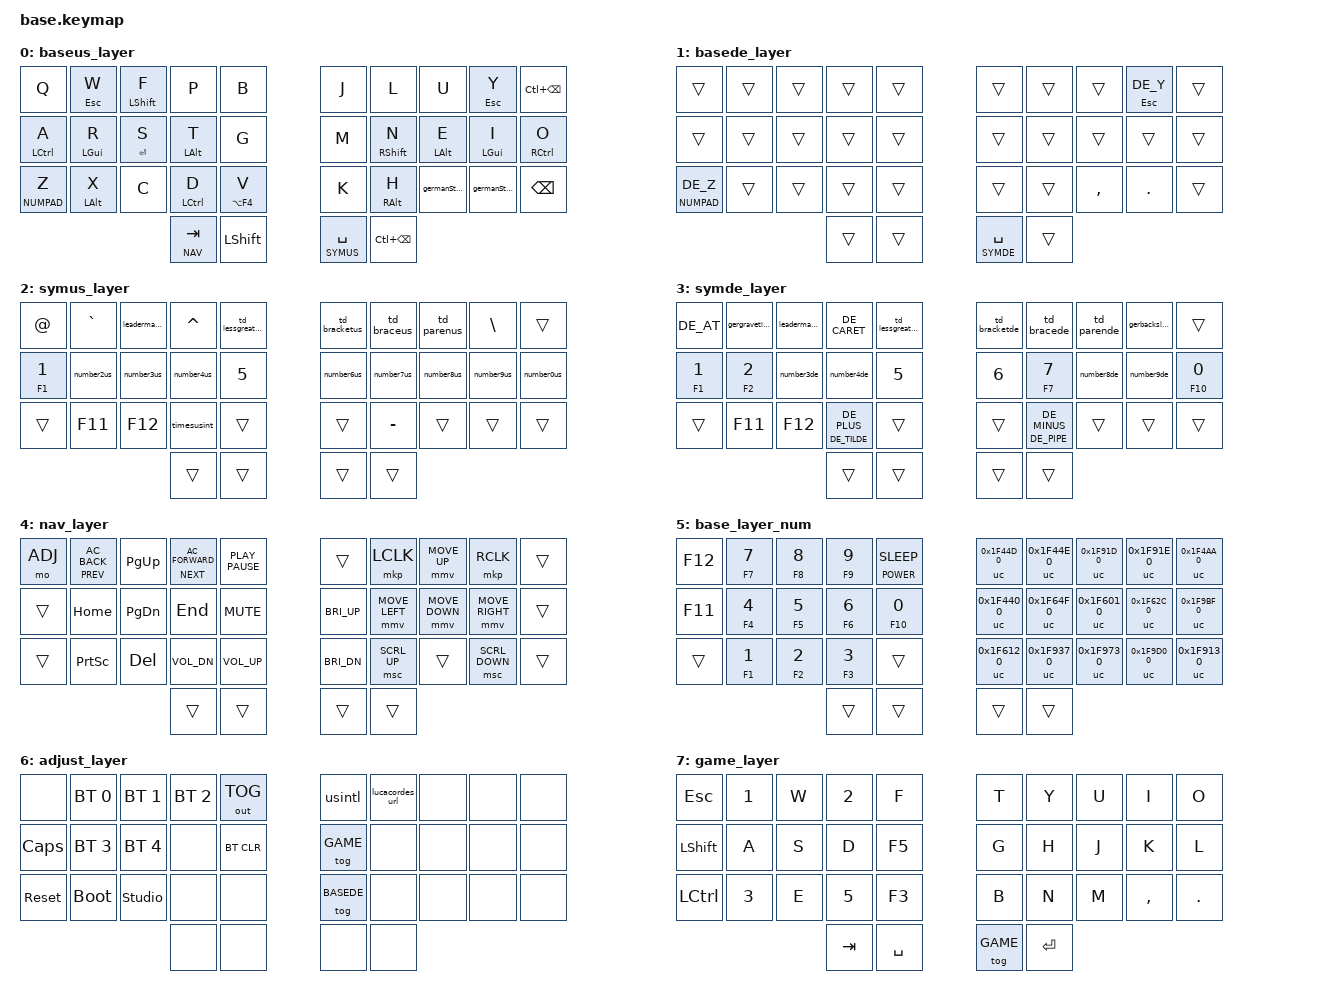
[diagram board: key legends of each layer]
/*
 * Copyright (c) 2020 The ZMK Contributors
 *
 * SPDX-License-Identifier: MIT
 */
#define ZMK_POINTING_DEFAULT_MOVE_VAL 1500  // default: 600

#include <behaviors/mouse_keys.dtsi>
#include <behaviors/unicode.dtsi>            //unicode

#include <dt-bindings/zmk/bt.h>
#include <dt-bindings/zmk/keys.h>
#include <dt-bindings/zmk/mouse.h>
#include <dt-bindings/zmk/outputs.h>
#include <dt-bindings/zmk/ext_power.h>

#include <behaviors.dtsi>

#include "keys_de.h"
#include "keys_it.h"
#include "keys_us_international.h"
#include "leader.dtsi"


#include <zmk-unicode/keys-full.h>   // All glyphs including CJK
&uc {
  default-mode = <UC_MODE_LINUX>;  // Default to Linux input system
  minimum-length = <0>;            // Set to desired minimum input length
  // this is the default linux-key = <LC(LS(U))>;         // Overwrite Linux compose key
};




#define XXX &none
#define ___ &trans

#define BASEUS 0
#define BASEDE 1
#define SYMUS 2
#define SYMDE 3
#define NAV 4
#define NUMPAD 5
#define ADJ 6
#define GAME 7


#define arrowcombotime 10

/ {

            /*                KEY POSITIONS
  ╭────────────────────╮ ╭────────────────────╮
  │  0   1   2   3   4 │ │  5   6   7   8   9 │
  │ 10  11  12  13  14 │ │ 15  16  17  18  19 │
  │ 20  21  22  23  24 │ │ 25  26  27  28  29 │
  ╰───────────╮ 30  31 │ │ 32  33 ╭───────────╯
              ╰────────╯ ╰────────╯            */


    combos {
        compatible = "zmk,combos";
 
            combo_up {
            timeout-ms = <arrowcombotime>;
            key-positions = <11 12 13>;
            bindings = <&kp UP>;
        };
            combo_down {
            timeout-ms = <arrowcombotime>;
            key-positions = <11 13>;
            bindings = <&kp DOWN>;
        };
            combo_right {
            timeout-ms = <arrowcombotime>;
            key-positions = <12 13>;
            bindings = <&kp RIGHT>;
        };
            combo_left {
            timeout-ms = <arrowcombotime>;
            key-positions = <11 12>;
            bindings = <&kp LEFT>;
        };

        combo_uprhand {
            timeout-ms = <arrowcombotime>;
            key-positions = <16 17 18>;
            bindings = <&kp UP>;
        };
            combo_downrhand {
            timeout-ms = <arrowcombotime>;
            key-positions = <16 18>;
            bindings = <&kp DOWN>;
        };
            combo_rightrhand {
            timeout-ms = <arrowcombotime>;
            key-positions = <17 18>;
            bindings = <&kp RIGHT>;
        };
            combo_leftrhand {
            timeout-ms = <arrowcombotime>;
            key-positions = <16 17>;
            bindings = <&kp LEFT>;
        };

      

    };



//macros

macros {
        usintl: usintl { //setxkbmap us intl
          compatible = "zmk,behavior-macro";
          #binding-cells = <0>;
          bindings
            = <&macro_tap &kp S &kp E &kp T &kp X &kp K &kp B &kp M &kp A &kp P &kp SPACE &kp MINUS &kp L &kp A &kp Y &kp O &kp U &kp T &kp SPACE &kp U &kp S &kp SPACE &kp MINUS &kp V &kp A &kp R &kp I &kp A &kp N &kp T &kp SPACE &kp A &kp L &kp T &kp G &kp R &kp MINUS &kp I &kp N &kp T &kp L>
            ;
        };
        lucacordes_url: lucacordes_url {
            compatible = "zmk,behavior-macro";
            #binding-cells = <0>;
            bindings
                = <&macro_tap &kp L &kp U &kp C &kp A &kp C &kp O &kp R &kp D &kp E &kp S &kp DOT &kp C &kp O &kp M &kp SLASH &kp K &kp E &kp Y &kp M &kp A &kp P &kp DOT &kp P &kp D &kp F>
                ;
        };
    leadermacro: leadermacro {
    compatible = "zmk,behavior-macro";
    #binding-cells = <0>;
    bindings
        = <&macro_tap &leader &to BASEUS>
        ;
    };
    leadermacroger: leadermacroger {
    compatible = "zmk,behavior-macro";
    #binding-cells = <0>;
    bindings
        = <&macro_tap &leader &kp G &to BASEDE>
        ;
    };

            //[]
    bracketde: bracketde {
    compatible = "zmk,behavior-macro";
    #binding-cells = <0>;
    bindings
        = <&macro_tap &kp DE_LEFT_BRACKET &kp DE_RIGHT_BRACKET &kp LEFT>
        ;
    };
            //{}
    bracede: bracede {
    compatible = "zmk,behavior-macro";
    #binding-cells = <0>;
    bindings
        = <&macro_tap &kp DE_LEFT_BRACE &kp DE_RIGHT_BRACE &kp LEFT>
        ;
    };
            //()
    parende: parende {
    compatible = "zmk,behavior-macro";
    #binding-cells = <0>;
    bindings
        = <&macro_tap &kp DE_LEFT_PARENTHESIS &kp DE_RIGHT_PARENTHESIS &kp LEFT>
        ;
    };
            //<>
    lessgreaterde: lessgreaterde {
    compatible = "zmk,behavior-macro";
    #binding-cells = <0>;
    bindings
        = <&macro_tap &kp DE_LESS_THAN &kp DE_GREATER_THAN &kp LEFT>
        ;
    };
            //[]
    bracketus: bracketus {
    compatible = "zmk,behavior-macro";
    #binding-cells = <0>;
    bindings
        = <&macro_tap &kp LEFT_BRACKET &kp RIGHT_BRACKET &kp LEFT>
        ;
    };
            //{}
    braceus: braceus {
    compatible = "zmk,behavior-macro";
    #binding-cells = <0>;
    bindings
        = <&macro_tap &kp LEFT_BRACE &kp RIGHT_BRACE &kp LEFT>
        ;
    };
            //()
    parenus: parenus {
    compatible = "zmk,behavior-macro";
    #binding-cells = <0>;
    bindings
        = <&macro_tap &kp LEFT_PARENTHESIS &kp RIGHT_PARENTHESIS &kp LEFT>
        ;
    };

            //<>
    lessgreaterus: lessgreaterus {
    compatible = "zmk,behavior-macro";
    #binding-cells = <0>;
    bindings
        = <&macro_tap &kp LT &kp GT &kp LEFT>
        ;
    };



};



 


//mod morph
 
    behaviors {
        //home row mods

        hm: hm {
            compatible = "zmk,behavior-hold-tap";
            #binding-cells = <2>;
            flavor = "tap-preferred";
            tapping-term-ms = <200>;
            quick-tap-ms = <200>;
            global-quick-tap;
            require-prior-idle-ms = <125>;
            bindings = <&kp>, <&kp>;
        };
        hmhold: hmhold {
            compatible = "zmk,behavior-hold-tap";
            #binding-cells = <2>;
            flavor = "hold-preferred";
            tapping-term-ms = <200>;
            bindings = <&mo>, <&kp>;
        };

        gerbackslashpipe: gerbackslashpipe {
            compatible = "zmk,behavior-mod-morph";
            #binding-cells = <0>;
            bindings = <&kp DE_BACKSLASH>, <&kp DE_PIPE>;
            mods = <(MOD_LSFT|MOD_RSFT)>;
        };
        gergravetilde: gergravetilde {
            compatible = "zmk,behavior-mod-morph";
            #binding-cells = <0>;
            bindings = <&kp DE_GRAVE>, <&kp DE_TILDE>;
            mods = <(MOD_LSFT|MOD_RSFT)>;
        };
        //mod morph
            // SL(.)->:
        germanStyleDot: germanStyleDot {
            compatible = "zmk,behavior-mod-morph";
            #binding-cells = <0>;
            bindings = <&kp DOT>, <&kp COLON>;
            mods = <(MOD_LSFT|MOD_RSFT)>;
        };
            // SL(,)->;
        germanStyeComma: germanStyeComma {
            compatible = "zmk,behavior-mod-morph";
            #binding-cells = <0>;
            bindings = <&kp COMMA>, <&kp SEMICOLON>;
            mods = <(MOD_LSFT|MOD_RSFT)>;
        };

            // German numbers
            //3'
        number3de: number3de {
            compatible = "zmk,behavior-mod-morph";
            #binding-cells = <0>;
            bindings = <&hm F3 N3>, <&kp DE_SQT>;
            mods = <(MOD_LSFT|MOD_RSFT)>;
        };
            //4$
        number4de: number4de {
            compatible = "zmk,behavior-mod-morph";
            #binding-cells = <0>;
            bindings = <&hm F4 N4>, <&hm DE_EURO DE_DOLLAR>;
            mods = <(MOD_LSFT|MOD_RSFT)>;
        };
            //8#
        number8de: number8de {
            compatible = "zmk,behavior-mod-morph";
            #binding-cells = <0>;
            bindings = <&hm F8 N8>, <&kp DE_HASH>;
            mods = <(MOD_LSFT|MOD_RSFT)>;
        };
            //9?
        number9de: number9de {
            compatible = "zmk,behavior-mod-morph";
            #binding-cells = <0>;
            bindings = <&hm F9 N9>, <&kp DE_QMARK>;
            mods = <(MOD_LSFT|MOD_RSFT)>;
        };

            // US Numbers
            //2"
        number2us: number2us{
            compatible = "zmk,behavior-mod-morph";
            #binding-cells = <0>;
            bindings = <&hm F2 N2>, <&kp DQT>;
            mods = <(MOD_LSFT|MOD_RSFT)>;
        };
            //3'
        number3us: number3us{
            compatible = "zmk,behavior-mod-morph";
            #binding-cells = <0>;
            bindings = <&hm F3 N3>, <&kp SQT>;
            mods = <(MOD_LSFT|MOD_RSFT)>;
        };
            //4$
        number4us: number4us {
            compatible = "zmk,behavior-mod-morph";
            #binding-cells = <0>;
            bindings = <&hm F4 N4>, <&hm EN_EURO DOLLAR>;
            mods = <(MOD_LSFT|MOD_RSFT)>;
        };
            //6&
        number6us: number6us {
            compatible = "zmk,behavior-mod-morph";
            #binding-cells = <0>;
            bindings = <&hm F6 N6>, <&kp AMPS>;
            mods = <(MOD_LSFT|MOD_RSFT)>;
        };
            //7/
        number7us: number7us {
            compatible = "zmk,behavior-mod-morph";
            #binding-cells = <0>;
            bindings = <&hm F7 N7>, <&kp SLASH>;
            mods = <(MOD_LSFT|MOD_RSFT)>;
        };
            //8#
        number8us: number8us {
            compatible = "zmk,behavior-mod-morph";
            #binding-cells = <0>;
            bindings = <&hm F8 N8>, <&kp HASH>;
            mods = <(MOD_LSFT|MOD_RSFT)>;
        };

            //9?
        number9us: number9us {
            compatible = "zmk,behavior-mod-morph";
            #binding-cells = <0>;
            bindings = <&hm F9 N9>, <&kp QMARK>;
            mods = <(MOD_LSFT|MOD_RSFT)>;
        };
            // 0=
        number0us: number0us {
            compatible = "zmk,behavior-mod-morph";
            #binding-cells = <0>;
            bindings = <&hm F10 N0>, <&kp EQUAL>;
            mods = <(MOD_LSFT|MOD_RSFT)>;
        };
  

            // ~+ *
        timesusint: timesusint {
            compatible = "zmk,behavior-mod-morph";
            #binding-cells = <0>;
            bindings = <&kp PLUS>, <&kp STAR>;
            mods = <(MOD_LSFT|MOD_RSFT)>;
        };
            // US
            //{}
        td_braceus: td_braceus {
            compatible = "zmk,behavior-tap-dance";
            #binding-cells = <0>;
            tapping-term-ms = <200>;
            bindings = <&hm RIGHT_BRACE LEFT_BRACE>, <&braceus>;
        };
            //()
        td_parenus: td_parenus {
            compatible = "zmk,behavior-tap-dance";
            #binding-cells = <0>;
            tapping-term-ms = <200>;
            bindings = <&hm RIGHT_PARENTHESIS LEFT_PARENTHESIS>, <&parenus>;
        };

            //[
        td_bracketus: td_bracketus {
            compatible = "zmk,behavior-tap-dance";
            #binding-cells = <0>;
            tapping-term-ms = <200>;
            bindings = <&hm RIGHT_BRACKET LEFT_BRACKET>, <&bracketus>;
        };

            //<>
        td_lessgreaterus: td_lessgreaterus {
            compatible = "zmk,behavior-tap-dance";
            #binding-cells = <0>;
            tapping-term-ms = <200>;
            bindings = <&hm GT LT>, <&lessgreaterus>;
        };

            // German
            // <>
        td_lessgreaterde: td_lessgreaterde {
            compatible = "zmk,behavior-tap-dance";
            #binding-cells = <0>;
            tapping-term-ms = <200>;
            bindings = <&hm DE_GT DE_LT>, <&lessgreaterde>;
        };

            //[]
        td_bracketde: td_bracketde {
            compatible = "zmk,behavior-tap-dance";
            #binding-cells = <0>;
            tapping-term-ms = <200>;
            bindings = <&hm DE_RIGHT_BRACKET DE_LEFT_BRACKET>, <&bracketde>;
        };

            //{}
        td_bracede: td_bracede {
            compatible = "zmk,behavior-tap-dance";
            #binding-cells = <0>;
            tapping-term-ms = <200>;
            bindings = <&hm DE_RIGHT_BRACE DE_LEFT_BRACE>, <&bracede>;
        };
            //()
        td_parende: td_parende {
            compatible = "zmk,behavior-tap-dance";
            #binding-cells = <0>;
            tapping-term-ms = <200>;
            bindings = <&hm DE_RIGHT_PARENTHESIS DE_LEFT_PARENTHESIS>, <&parende>;
        };

   
    };








  keymap {
    compatible = "zmk,keymap";

    baseus_layer {
      bindings = <
        // ╭─────────────┬─────────────┬─────────────┬─────────────┬─────────────╮   ╭─────────────┬─────────────┬─────────────┬─────────────┬─────────────╮
                 &kp Q      &hm ESC W    &hm LSHIFT F    &kp P         &kp B             &kp J          &kp L        &kp U       &hm ESC Y  &kp LC(BSPC)
        // ├─────────────┼─────────────┼─────────────┼─────────────┼─────────────┤   ├─────────────┼─────────────┼─────────────┼─────────────┼─────────────┤
            &hm LCTRL A     &hm LGUI R    &hm RET S    &hm LALT T      &kp G         &kp M       &hm RSHFT N   &hm LALT E    &hm LGUI I    &hm RCTRL O
        // ├─────────────┼─────────────┼─────────────┼─────────────┼─────────────┤   ├─────────────┼─────────────┼─────────────┼─────────────┼─────────────┤
          &lt NUMPAD Z   &hm LALT X      &kp C      &hm LCTRL D   &hm LA(F4) V        &kp K       &hm RALT H    &germanStyeComma &germanStyleDot &kp BSPC
        // ╰─────────────┴─────────────┴─────────────┼─────────────┼─────────────┤   ├─────────────┼─────────────┼─────────────┴─────────────┴─────────────╯
                                                       &hmhold NAV TAB   &kp LSHFT    &lt SYMUS SPC &kp LC(BSPC)
        //                                           ╰─────────────┴─────────────╯   ╰─────────────┴─────────────╯
      >;
    };



    basede_layer {
      bindings = <
        // ╭─────────────┬─────────────┬─────────────┬─────────────┬─────────────╮   ╭─────────────┬─────────────┬─────────────┬─────────────┬─────────────╮
                 ___           ___           ___           ___           ___               ___           ___           ___       &hm ESC DE_Y      ___
        // ├─────────────┼─────────────┼─────────────┼─────────────┼─────────────┤   ├─────────────┼─────────────┼─────────────┼─────────────┼─────────────┤
                 ___           ___           ___           ___           ___               ___           ___           ___           ___           ___
        // ├─────────────┼─────────────┼─────────────┼─────────────┼─────────────┤   ├─────────────┼─────────────┼─────────────┼─────────────┼─────────────┤
            &lt NUMPAD DE_Z    ___           ___           ___           ___               ___           ___        &kp COMMA       &kp DOT        ___
        // ╰─────────────┴─────────────┴─────────────┼─────────────┼─────────────┤   ├─────────────┼─────────────┼─────────────┴─────────────┴─────────────╯
                                                           ___           ___           &lt SYMDE SPC     ___
        //                                           ╰─────────────┴─────────────╯   ╰─────────────┴─────────────╯
      >;
    };
        
    

      symus_layer {
      bindings = <
        // ╭─────────────┬─────────────┬─────────────┬─────────────┬─────────────╮   ╭─────────────┬─────────────┬─────────────┬─────────────┬─────────────╮
               &kp AT      &kp GRAVE     &leadermacro &kp CARET &td_lessgreaterus  &td_bracketus   &td_braceus   &td_parenus   &kp BACKSLASH     ___
        // ├─────────────┼─────────────┼─────────────┼─────────────┼─────────────┤   ├─────────────┼─────────────┼─────────────┼─────────────┼─────────────┤
               &hm F1 N1   &number2us    &number3us     &number4us   &kp N5              &number6us   &number7us    &number8us   &number9us     &number0us
        // ├─────────────┼─────────────┼─────────────┼─────────────┼─────────────┤   ├─────────────┼─────────────┼─────────────┼─────────────┼─────────────┤
                ___          &kp F11        &kp F12   &timesusint        ___               ___        &kp MINUS        ___           ___           ___
        // ╰─────────────┴─────────────┴─────────────┼─────────────┼─────────────┤   ├─────────────┼─────────────┼─────────────┴─────────────┴─────────────╯
                                                           ___           ___               ___          ___
        //                                           ╰─────────────┴─────────────╯   ╰─────────────┴─────────────╯
      >;
    };


    symde_layer {
      bindings = <
        // ╭─────────────┬─────────────┬─────────────┬─────────────┬─────────────╮   ╭─────────────┬─────────────┬─────────────┬─────────────┬─────────────╮
            &kp DE_AT   &gergravetilde &leadermacroger    &kp DE_CARET &td_lessgreaterde  &td_bracketde &td_bracede &td_parende  &gerbackslashpipe   ___
        // ├─────────────┼─────────────┼─────────────┼─────────────┼─────────────┤   ├─────────────┼─────────────┼─────────────┼─────────────┼─────────────┤
               &hm F1 N1   &hm F2 N2    &number3de        &number4de    &kp N5           &kp N6      &hm F7 N7      &number8de   &number9de     &hm F10 N0
        // ├─────────────┼─────────────┼─────────────┼─────────────┼─────────────┤   ├─────────────┼─────────────┼─────────────┼─────────────┼─────────────┤
                 ___        &kp F11        &kp F12 &hm DE_TILDE DE_PLUS  ___               ___   &hm DE_PIPE DE_MINUS ___           ___           ___
        // ╰─────────────┴─────────────┴─────────────┼─────────────┼─────────────┤   ├─────────────┼─────────────┼─────────────┴─────────────┴─────────────╯
                                                           ___           ___               ___          ___
        //                                           ╰─────────────┴─────────────╯   ╰─────────────┴─────────────╯
      >;
    };


    nav_layer {
      bindings = <
        // ╭─────────────┬─────────────┬─────────────┬─────────────┬─────────────╮   ╭─────────────┬─────────────┬─────────────┬─────────────┬─────────────╮
               &mo ADJ &hm C_PREV C_AC_BACK &kp PG_UP &hm C_NEXT C_AC_FORWARD &kp K_PLAY_PAUSE ___   &mkp LCLK    &mmv MOVE_UP    &mkp RCLK        ___           
        // ├─────────────┼─────────────┼─────────────┼─────────────┼─────────────┤   ├─────────────┼─────────────┼─────────────┼─────────────┼─────────────┤
                 ___        &kp HOME      &kp PG_DN      &kp END      &kp C_MUTE       &kp C_BRI_UP &mmv MOVE_LEFT &mmv MOVE_DOWN  &mmv MOVE_RIGHT ___
        // ├─────────────┼─────────────┼─────────────┼─────────────┼─────────────┤   ├─────────────┼─────────────┼─────────────┼─────────────┼─────────────┤
                 ___         &kp PSCRN     &kp DEL     &kp C_VOL_DN  &kp C_VOL_UP      &kp C_BRI_DN  &msc SCRL_UP      ___      &msc SCRL_DOWN     ___
        // ╰─────────────┴─────────────┴─────────────┼─────────────┼─────────────┤   ├─────────────┼─────────────┼─────────────┴─────────────┴─────────────╯
                                                           ___           ___               ___           ___
        //                                           ╰─────────────┴─────────────╯   ╰─────────────┴─────────────╯
      >;
    };


    base_layer_num {
      bindings = <
        // ╭─────────────┬─────────────┬─────────────┬─────────────┬─────────────╮   ╭─────────────┬─────────────┬─────────────┬─────────────┬─────────────╮
               &kp F12      &hm F7 N7     &hm F8 N8    &hm F9 N9  &hm C_POWER C_SLEEP &uc 0x1F44D 0 &uc 0x1F44E 0 &uc 0x1F91D 0 &uc 0x1F91E 0 &uc 0x1F4AA 0
//                                                                                         👍            👎            🤝            🤞          💪
        // ├─────────────┼─────────────┼─────────────┼─────────────┼─────────────┤   ├─────────────┼─────────────┼─────────────┼─────────────┼─────────────┤
               &kp F11      &hm F4 N4     &hm F5 N5    &hm F6 N6     &hm F10 N0       &uc 0x1F440 0 &uc 0x1F64F 0 &uc 0x1F601 0 &uc 0x1F62C 0 &uc 0x1F9BF 0
//                                                                                         👀            🙏            😁            😬            🦿
        // ├─────────────┼─────────────┼─────────────┼─────────────┼─────────────┤   ├─────────────┼─────────────┼─────────────┼─────────────┼─────────────┤
                 ___        &hm F1 N1     &hm F2 N2    &hm F3 N3         ___          &uc 0x1F612 0 &uc 0x1F937 0 &uc 0x1F973 0 &uc 0x1F9D0 0  &uc 0x1F913 0
//                                                                                          😒           🤷            🥳            🧐             🤓 
        // ╰─────────────┴─────────────┴─────────────┼─────────────┼─────────────┤   ├─────────────┼─────────────┼─────────────┴─────────────┴─────────────╯
                                                           ___           ___               ___           ___
        //                                           ╰─────────────┴─────────────╯   ╰─────────────┴─────────────╯
      >;
    };

    adjust_layer {
      bindings = <
        // ╭─────────────┬─────────────┬─────────────┬─────────────┬─────────────╮   ╭─────────────┬─────────────┬─────────────┬─────────────┬─────────────╮
                 XXX       &bt BT_SEL 0 &bt BT_SEL 1 &bt BT_SEL 2   &out OUT_TOG         &usintl      &lucacordes_url  XXX           XXX           XXX
        // ├─────────────┼─────────────┼─────────────┼─────────────┼─────────────┤   ├─────────────┼─────────────┼─────────────┼─────────────┼─────────────┤
              &kp CAPS     &bt BT_SEL 3 &bt BT_SEL 4       XXX        &bt BT_CLR       &tog GAME         XXX           XXX           XXX           XXX
        // ├─────────────┼─────────────┼─────────────┼─────────────┼─────────────┤   ├─────────────┼─────────────┼─────────────┼─────────────┼─────────────┤
            &sys_reset     &bootloader    &studio_unlock   XXX           XXX           &tog BASEDE       XXX           XXX           XXX           XXX
        // ╰─────────────┴─────────────┴─────────────┼─────────────┼─────────────┤   ├─────────────┼─────────────┼─────────────┴─────────────┴─────────────╯
                                                           XXX           XXX               XXX           XXX
        //                                           ╰─────────────┴─────────────╯   ╰─────────────┴─────────────╯
      >;
    };
game_layer {
  bindings = <
    // ╭─────────────┬─────────────┬─────────────┬─────────────┬─────────────╮   ╭─────────────┬─────────────┬─────────────┬─────────────┬─────────────╮
            &kp ESC       &kp N1        &kp W         &kp N2         &kp F         &kp T             &kp Y         &kp U         &kp I        &kp O      
    // ├─────────────┼─────────────┼─────────────┼─────────────┼─────────────┤   ├─────────────┼─────────────┼─────────────┼─────────────┼─────────────┤
          &kp LSHFT       &kp A        &kp S         &kp D         &kp F5         &kp G             &kp H         &kp J         &kp K        &kp L                 
    // ├─────────────┼─────────────┼─────────────┼─────────────┼─────────────┤   ├─────────────┼─────────────┼─────────────┼─────────────┼─────────────┤
           &kp LCTRL      &kp N3        &kp E         &kp N5         &kp F3              &kp B       &kp N         &kp M         &kp COMMA    &kp DOT   
    // ╰─────────────┴─────────────┴─────────────┼─────────────┼─────────────┤   ├─────────────┼─────────────┼─────────────┴─────────────┴─────────────╯
                                                 &kp TAB      &kp SPACE        &tog GAME     &kp ENTER
    //                                           ╰─────────────┴─────────────╯   ╰─────────────┴─────────────╯
  >;
};


  };
};
